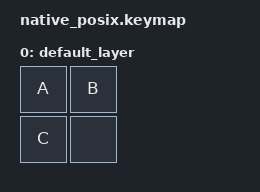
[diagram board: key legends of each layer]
#include <dt-bindings/zmk/keys.h>
#include <behaviors.dtsi>
#include <dt-bindings/zmk/kscan-mock.h>

/ {
	behaviors {
		combo_one {
			compatible = "zmk,behavior-combo";
			label = "COMBO_ONE";
			timeout-ms = <30>;
			key-positions = <0 1>;
			bindings = <&kp X>;
		};
		
		combo_two {
			compatible = "zmk,behavior-combo";
			label = "COMBO_TWO";
			timeout-ms = <30>;
			key-positions = <0 2>;
			bindings = <&kp Y>;
		};

		combo_three {
			compatible = "zmk,behavior-combo";
			label = "COMBO_TWO";
			timeout-ms = <30>;
			key-positions = <3>;
			bindings = <&kp Z>;
		};
	};

	keymap {
		compatible = "zmk,keymap";
		label ="Default keymap";

		default_layer {
			bindings = <
				&kp A &kp B
				&kp C &none
			>;
		};
	};
};

&kscan {
	events = <
		/* all permutations of combo one press and release */
		ZMK_MOCK_PRESS(0,0,10) 
		ZMK_MOCK_PRESS(0,1,10) 
		ZMK_MOCK_RELEASE(0,0,10) 
		ZMK_MOCK_RELEASE(0,1,10)

		ZMK_MOCK_PRESS(0,1,10) 
		ZMK_MOCK_PRESS(0,0,10) 
		ZMK_MOCK_RELEASE(0,1,10)
		ZMK_MOCK_RELEASE(0,0,10) 

		ZMK_MOCK_PRESS(0,1,10) 
		ZMK_MOCK_PRESS(0,0,10) 
		ZMK_MOCK_RELEASE(0,0,10) 
		ZMK_MOCK_RELEASE(0,1,10)

		ZMK_MOCK_PRESS(0,0,10)  
		ZMK_MOCK_PRESS(0,1,10) 
		ZMK_MOCK_RELEASE(0,1,10)
		ZMK_MOCK_RELEASE(0,0,10)

		/* all permutations of combo two press and release */
		ZMK_MOCK_PRESS(0,0,10) 
		ZMK_MOCK_PRESS(0,2,10) 
		ZMK_MOCK_RELEASE(0,0,10) 
		ZMK_MOCK_RELEASE(0,2,10)

		ZMK_MOCK_PRESS(0,2,10) 
		ZMK_MOCK_PRESS(0,0,10) 
		ZMK_MOCK_RELEASE(0,2,10)
		ZMK_MOCK_RELEASE(0,0,10) 

		ZMK_MOCK_PRESS(0,2,10) 
		ZMK_MOCK_PRESS(0,0,10) 
		ZMK_MOCK_RELEASE(0,0,10) 
		ZMK_MOCK_RELEASE(0,2,10)

		ZMK_MOCK_PRESS(0,0,10)  
		ZMK_MOCK_PRESS(0,2,10) 
		ZMK_MOCK_RELEASE(0,2,10)
		ZMK_MOCK_RELEASE(0,0,10)
	>;
};
